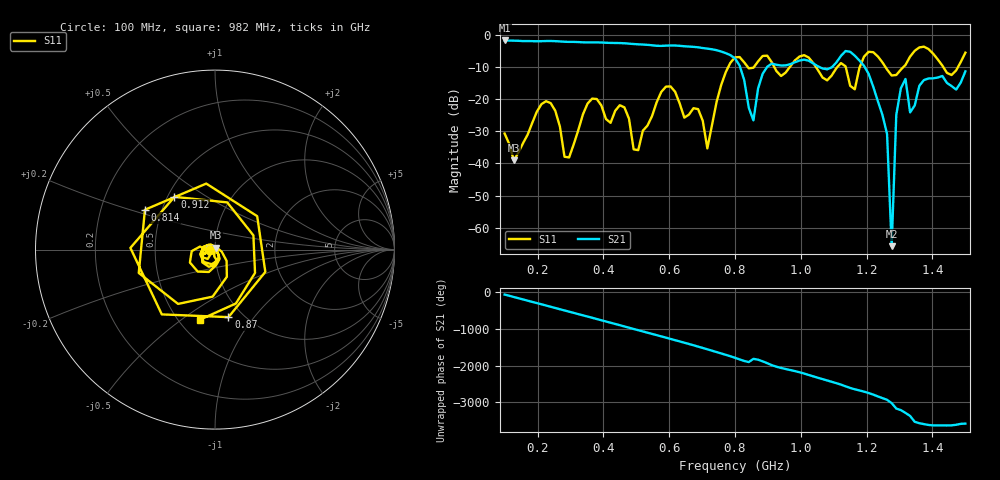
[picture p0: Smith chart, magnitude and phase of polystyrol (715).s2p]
! NanoVNA-App
! Date: 2025-09-25 15:35:27
! Start: 100MHz Stop: 1,5GHz Points: 101
! S-Parameter data: F S11 S21 S12 S22
# Hz S RI R 50
!  Frequency  S11_Real  S11_Imag  S21_Real  S21_Imag  S12_Real  S12_Imag  S22_Real  S22_Imag
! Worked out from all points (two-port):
!   101 points, 100 MHz to 1.5 GHz, reference 50 ohm
!   highest |S21| = -1.80 dB at 100 MHz (marker M1); lowest = -65.7 dB at 1.276 GHz (marker M2)
!   |S21| within 3 dB of the highest: start of sweep to 743.1 MHz
!   lowest |S11| = -39.1 dB at 128 MHz (marker M3), VSWR 1.02, Z = 50.3 + j1.06 ohm
!   |S11| at or under -10 dB: start of sweep to 779.9 MHz; 1.045 GHz to 1.112 GHz (66.14 MHz wide, 6.13 % of centre); 1.257 GHz to 1.312 GHz (55.46 MHz wide, 4.32 % of centre) (the widest 3 of 7)
!   S12 and S22 are empty: the file has one direction only
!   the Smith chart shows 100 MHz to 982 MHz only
!   S11 on the Smith chart (normalised r, x): 100 MHz: 0.94, -0.01; 814 MHz: 0.40, +0.22; 870 MHz: 0.86, -0.75; 912 MHz: 0.54, +0.37; 982 MHz: 0.64, -0.59
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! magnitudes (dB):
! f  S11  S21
! 100 MHz  -30.7  -1.8
! 128 MHz  -39.1  -1.9
! 212 MHz  -21.6  -2.0
! 282 MHz  -37.9  -2.2
! 338 MHz  -24.7  -2.4
! 506 MHz  -35.9  -3.0
! 576 MHz  -17.8  -3.5
! 716 MHz  -35.3  -4.3
! 800 MHz  -7.0  -7.4
! 814 MHz  -7.0  -9.6
! 856 MHz  -10.3  -26.6
! 870 MHz  -8.3  -16.8
! 912 MHz  -8.6  -9.0
! 982 MHz  -8.0  -8.6
! 1.038 GHz  -8.9  -8.9
! 1.164 GHz  -17.0  -6.5
! 1.206 GHz  -5.3  -12.2
! 1.262 GHz  -10.8  -30.9
! 1.276 GHz  -12.7  -65.7
! 1.29 GHz  -12.5  -24.9
! 1.304 GHz  -10.9  -16.6
! 1.5 GHz  -5.6  -11.4
